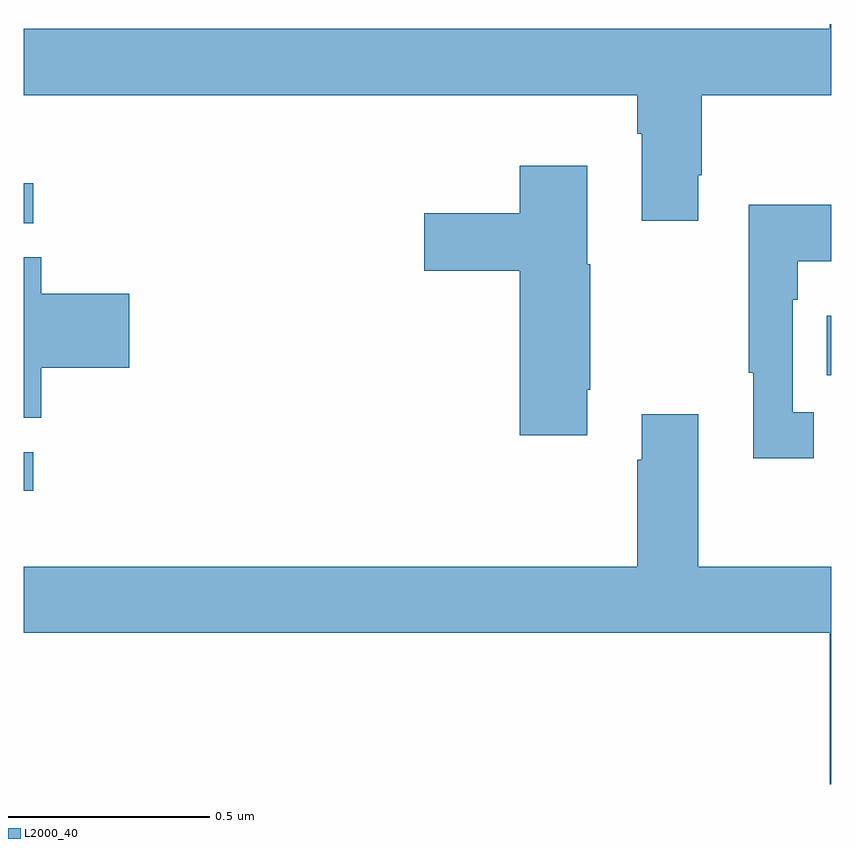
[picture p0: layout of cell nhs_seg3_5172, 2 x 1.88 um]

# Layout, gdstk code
import gdstk
lib = gdstk.Library(unit=1e-6, precision=1e-09)
def R(c, l, rs):  # rectangles x0, y0, x1, y1
    for r in rs: c.add(gdstk.rectangle(r[:2], r[2:], *l))
def P(c, l, *ps):  # polygons
    for p in ps: c.add(gdstk.Polygon(p, *l))
L2000_40 = (2000, 40)

nhs_seg3_5172 = lib.new_cell('nhs_seg3_5172')
R(nhs_seg3_5172, L2000_40, [(175,725.244,175.024,725.34), (176.989,725.53,177,725.677), (175,725.907,175.024,726.006)])
P(nhs_seg3_5172, L2000_40, [(176.671,726.025),(176.679,726.025),(176.679,726.224),(177,726.224),(177,726.4),(176.996,726.4),(176.996,726.388),(175,726.388),(175,726.224),(176.519,726.224),(176.519,726.128),(176.531,726.128),(176.531,725.913),(176.671,725.913)],
  [(176.395,725.494),(176.403,725.494),(176.403,725.805),(176.395,725.805),(176.395,726.049),(176.228,726.049),(176.228,725.931),(175.992,725.931),(175.992,725.789),(176.228,725.789),(176.228,725.382),(176.395,725.382)],
  [(176.956,725.438),(176.904,725.438),(176.904,725.717),(176.917,725.717),(176.917,725.813),(177,725.813),(177,725.953),(176.796,725.953),(176.796,725.537),(176.807,725.537),(176.807,725.325),(176.956,725.325)],
  [(175.043,725.549),(175.261,725.549),(175.261,725.732),(175.043,725.732),(175.043,725.822),(175,725.822),(175,725.425),(175.043,725.425)],
  [(177,725.056),(176.671,725.056),(176.671,725.434),(176.531,725.434),(176.531,725.321),(176.519,725.321),(176.519,725.056),(175,725.056),(175,724.892),(176.996,724.892),(176.996,724.518),(177,724.518)])

lib.write_gds('nhs_seg3_5172.gds')
